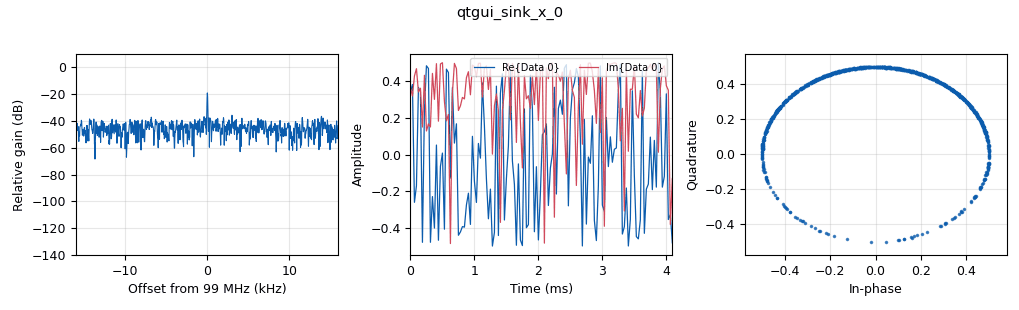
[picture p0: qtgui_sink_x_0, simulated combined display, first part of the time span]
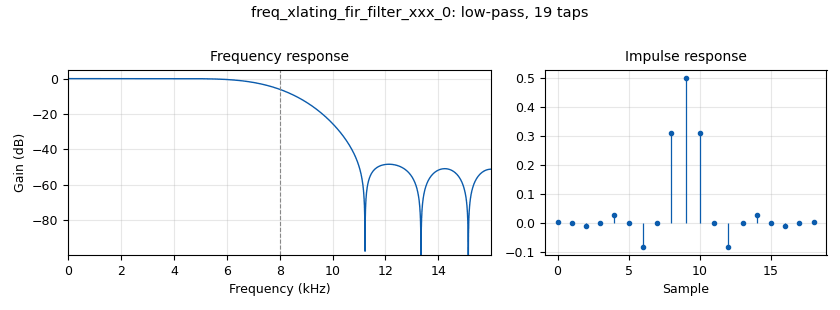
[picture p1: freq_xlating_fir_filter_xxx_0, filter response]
options:
  parameters:
    generate_options: qt_gui
    id: osmocom8
    output_language: python
    title: Not titled yet
  states: {}

blocks:
- name: freq
  id: variable
  parameters:
    value: 99e6
  states: {}
- name: lowpass
  id: variable_low_pass_filter_taps
  parameters:
    cutoff_freq: samp_rate/4
    gain: '1.0'
    samp_rate: samp_rate
    width: samp_rate/8
    win: window.WIN_HAMMING
  states: {}
- name: samp_rate
  id: variable
  parameters:
    value: '32000'
  states: {}
- name: varRange
  id: variable_qtgui_range
  parameters:
    start: '0'
    step: '1'
    stop: '100'
    value: '50'
  states: {}
- name: analog_const_source_x_1
  id: analog_const_source_x
  parameters:
    const: '0'
    type: complex
  states: {state: disabled}
- name: analog_fastnoise_source_x_0
  id: analog_fastnoise_source_x
  parameters:
    amp: '1'
    noise_type: analog.GR_GAUSSIAN
    samples: '8192'
    seed: '0'
    type: float
  states: {}
- name: analog_noise_source_x_0
  id: analog_noise_source_x
  parameters:
    amp: '1'
    noise_type: analog.GR_GAUSSIAN
    seed: '0'
    type: float
  states: {state: disabled}
- name: analog_wfm_tx_0
  id: analog_wfm_tx
  parameters:
    audio_rate: sample_rate
    fh: '-1.0'
    max_dev: 75e3
    tau: '75e-6'
  states: {state: disabled}
- name: audio_sink_0
  id: audio_sink
  parameters:
    samp_rate: samp_rate
  states: {state: disabled}
- name: blocks_float_to_complex_0
  id: blocks_float_to_complex
  parameters: {}
  states: {}
- name: blocks_multiply_const_vxx_0
  id: blocks_multiply_const_vxx
  parameters:
    const: '1'
    type: float
  states: {state: disabled}
- name: blocks_multiply_xx_0
  id: blocks_multiply_xx
  parameters:
    type: complex
  states: {}
- name: blocks_throttle_0
  id: blocks_throttle
  parameters:
    samples_per_second: samp_rate
    type: complex
  states: {}
- name: blocks_transcendental_0
  id: blocks_transcendental
  parameters:
    name: cos
    type: float
  states: {}
- name: blocks_transcendental_0_0
  id: blocks_transcendental
  parameters:
    name: sin
    type: float
  states: {}
- name: blocks_vector_sink_x_0
  id: blocks_vector_sink_x
  parameters:
    type: complex
  states: {state: disabled}
- name: blocks_vector_source_x_0
  id: blocks_vector_source_x
  parameters:
    repeat: 'True'
    type: complex
    vector: (1,0,1,0)
  states: {}
- name: blocks_vector_to_stream_0
  id: blocks_vector_to_stream
  parameters:
    type: complex
  states: {state: disabled}
- name: channels_phase_noise_gen_0
  id: channels_phase_noise_gen
  parameters:
    alpha: '0.1'
    noise_mag: '2'
  states: {}
- name: freq_xlating_fir_filter_xxx_0
  id: freq_xlating_fir_filter_xxx
  parameters:
    center_freq: '0'
    decim: '1'
    samp_rate: samp_rate
    taps: lowpass
    type: ccc
  states: {}
- name: interp_fir_filter_xxx_0
  id: interp_fir_filter_xxx
  parameters:
    interp: '4'
    taps: '4'
    type: ccc
  states: {state: disabled}
- name: osmosdr_sink_0
  id: osmosdr_sink
  parameters:
    bb_gain0: '20'
    freq0: 100e6
    gain0: '10'
    if_gain0: '20'
    sample_rate: samp_rate
    sync: sync
    type: fc32
  states: {state: disabled}
- name: pad_source_0
  id: pad_source
  parameters:
    label: in
    type: complex
  states: {state: disabled}
- name: qtgui_sink_x_0
  id: qtgui_sink_x
  parameters:
    bw: samp_rate
    fc: freq
    fftsize: '1024'
    type: complex
  states: {}
- name: single_pole_iir_filter_xx_0
  id: single_pole_iir_filter_xx
  parameters:
    alpha: '1.0'
    type: float
  states: {}
- name: virtual_sink_0
  id: virtual_sink
  parameters: {}
  states: {}

connections:
- [analog_const_source_x_1, '0', blocks_multiply_xx_0, '1']
- [analog_fastnoise_source_x_0, '0', single_pole_iir_filter_xx_0, '0']
- [analog_noise_source_x_0, '0', single_pole_iir_filter_xx_0, '0']
- [analog_wfm_tx_0, '0', blocks_multiply_const_vxx_0, '0']
- [blocks_float_to_complex_0, '0', blocks_multiply_xx_0, '0']
- [blocks_multiply_const_vxx_0, '0', audio_sink_0, '0']
- [blocks_multiply_xx_0, '0', channels_phase_noise_gen_0, '0']
- [blocks_throttle_0, '0', qtgui_sink_x_0, '0']
- [blocks_throttle_0, '0', virtual_sink_0, '0']
- [blocks_transcendental_0, '0', blocks_float_to_complex_0, '1']
- [blocks_transcendental_0_0, '0', blocks_float_to_complex_0, '0']
- [blocks_vector_source_x_0, '0', freq_xlating_fir_filter_xxx_0, '0']
- [blocks_vector_source_x_0, '0', interp_fir_filter_xxx_0, '0']
- [channels_phase_noise_gen_0, '0', blocks_throttle_0, '0']
- [freq_xlating_fir_filter_xxx_0, '0', blocks_multiply_xx_0, '1']
- [interp_fir_filter_xxx_0, '0', blocks_multiply_xx_0, '1']
- [single_pole_iir_filter_xx_0, '0', blocks_transcendental_0, '0']
- [single_pole_iir_filter_xx_0, '0', blocks_transcendental_0_0, '0']

metadata:
  file_format: 1
  grc_version: 3.10.5.0
